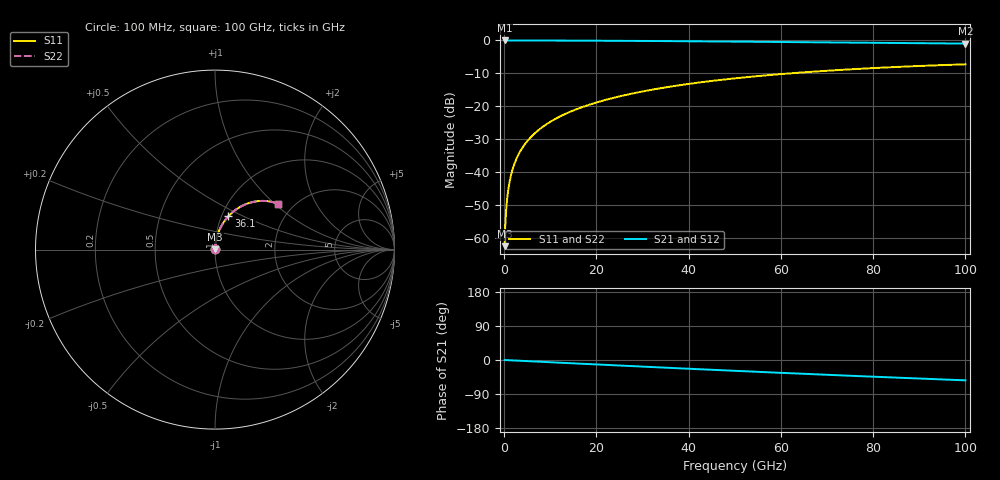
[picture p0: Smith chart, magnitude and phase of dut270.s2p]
! Touchstone file exported from HFSS 2026.1.0
!  File:  C:/ffzhzh/LocalFiles/Ansys_Project_Files/temp_train_TSV_270_1783508644_9504.aedt
!  Generated:  07:05:29 PM Jul  8, 2026
!  Design:  TSV
!  Project:  temp_train_TSV_270_1783508644_9504
! Variables:
!  h_bsmrdl = 2um
!  h_ox = 20um
!  h_rdl = 5um
!  h_sub = 93.81um
!  h_tmrdl = 5um
!  h_tsv = 93.81um
!  h_via = 3um
!  l_bsmrdl = 300um
!  l_sub = 410.26um
!  l_tmrdl = 200um
!  m_sub = 200um
!  pitch = 56.44um
!  r_tsv = 5.13um
!  s_tmrdl = 10um
!  w_bsmrdl = 18um
!  w_sub = 500um
!  w_tmrdl = 12um
!  x_tsv_center1 = 206um
!  x_tsv_center2 = 524um
!  x_tsv_center3 = 736um
!  x_tsv_center4 = 1054um
!  x_tsv_center5 = 1266um
!  x_tsv_center6 = 1584um
# GHz S MA R 50.000000
! Terminal data exported
! Port[1] = TSV1_1_T1
! Port[2] = TSV1_1_T2
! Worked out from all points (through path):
!   1000 points, 100 MHz to 100 GHz, reference 50 ohm
!   highest |S21| = 0.00 dB at 100 MHz (marker M1); lowest = -1.0 dB at 100 GHz (marker M2)
!   group delay of S21, straight-line fit = 1.49 ps
!   lowest |S11| = -62.4 dB at 100 MHz (marker M3), VSWR 1.00, Z = 50 + j0.0626 ohm
!   |S11| at or under -10 dB: start of sweep to 61.77 GHz
!   |S22| runs from -62.4 to -7.2 dB; largest |S21 - S12| = 3.3e-15
!   S11 on the Smith chart (normalised r, x): 100 MHz: 1.00, +0.00; 36.1 GHz: 1.08, +0.42; 100 GHz: 1.67, +1.05
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0.1  0.0007628 55.0  0.9996 -0.1  0.9996 -0.1  0.0007628 55.0
! Gamma 0 0 0 0
! Port Impedance 50 0 50 0
0.4  0.002504 79.0  0.9995 -0.2  0.9995 -0.2  0.002504 79.0
0.7  0.004312 83.0  0.9995 -0.4  0.9995 -0.4  0.004312 83.0
0.8  0.004917 83.6  0.9995 -0.5  0.9995 -0.5  0.004917 83.6
1  0.006127 84.4  0.9994 -0.6  0.9994 -0.6  0.006127 84.4
1.3  0.007938 85.1  0.9994 -0.8  0.9994 -0.8  0.007938 85.1
1.7  0.01034 85.4  0.9993 -1.0  0.9993 -1.0  0.01034 85.4
2.3  0.01392 85.5  0.9992 -1.4  0.9992 -1.4  0.01392 85.5
3  0.01805 85.4  0.999 -1.8  0.999 -1.8  0.01805 85.4
3.8  0.02274 85.2  0.9987 -2.3  0.9987 -2.3  0.02274 85.2
4.8  0.02855 84.8  0.9984 -2.9  0.9984 -2.9  0.02855 84.8
6  0.03549 84.3  0.9981 -3.6  0.9981 -3.6  0.03549 84.3
8.8  0.05161 83.0  0.9971 -5.2  0.9971 -5.2  0.05161 83.0
12.4  0.07215 81.1  0.9955 -7.3  0.9955 -7.3  0.07215 81.1
16.8  0.09693 78.8  0.9931 -9.9  0.9931 -9.9  0.09693 78.8
24.2  0.1377 74.7  0.9879 -14.2  0.9879 -14.2  0.1377 74.7
33.4  0.1862 69.7  0.9795 -19.4  0.9795 -19.4  0.1862 69.7
36.1  0.2 68.2  0.9767 -20.9  0.9767 -20.9  0.2 68.2
50.1  0.2668 60.6  0.9602 -28.6  0.9602 -28.6  0.2668 60.6
66.7  0.3353 52.0  0.9382 -37.4  0.9382 -37.4  0.3353 52.0
83.4  0.3916 43.7  0.916 -45.7  0.916 -45.7  0.3916 43.7
100  0.4348 35.9  0.8962 -53.6  0.8962 -53.6  0.4348 35.9
